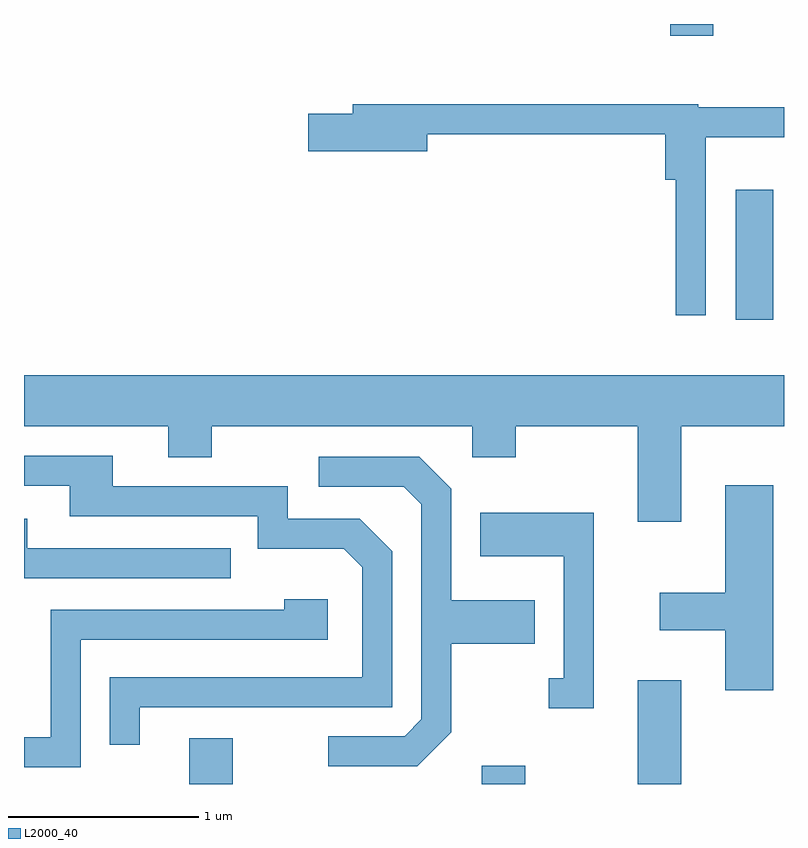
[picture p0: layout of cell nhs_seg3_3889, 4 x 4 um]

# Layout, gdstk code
import gdstk
lib = gdstk.Library(unit=1e-6, precision=1e-09)
def R(c, l, rs):  # rectangles x0, y0, x1, y1
    for r in rs: c.add(gdstk.rectangle(r[:2], r[2:], *l))
def P(c, l, *ps):  # polygons
    for p in ps: c.add(gdstk.Polygon(p, *l))
L2000_40 = (2000, 40)

nhs_seg3_3889 = lib.new_cell('nhs_seg3_3889')
R(nhs_seg3_3889, L2000_40, [(300.481,1141.892,300.709,1142.134), (302.021,1141.892,302.249,1141.989), (302.841,1141.892,303.069,1142.439), (303.356,1144.336,303.554,1145.019), (303.011,1145.831,303.239,1145.892)])
P(nhs_seg3_3889, L2000_40, [(303.199,1145.296),(303.611,1145.296),(303.611,1145.454),(303.16,1145.454),(303.16,1145.469),(301.341,1145.469),(301.341,1145.419),(301.106,1145.419),(301.106,1145.221),(301.734,1145.221),(301.734,1145.311),(302.986,1145.311),(302.986,1145.071),(303.041,1145.071),(303.041,1144.358),(303.199,1144.358)],
  [(303.069,1143.776),(303.611,1143.776),(303.611,1144.044),(299.611,1144.044),(299.611,1143.776),(300.371,1143.776),(300.371,1143.611),(300.599,1143.611),(300.599,1143.776),(301.971,1143.776),(301.971,1143.611),(302.199,1143.611),(302.199,1143.776),(302.841,1143.776),(302.841,1143.271),(303.069,1143.271)],
  [(300.219,1142.296),(301.549,1142.296),(301.549,1143.117),(301.377,1143.289),(300.999,1143.289),(300.999,1143.459),(300.079,1143.459),(300.079,1143.619),(299.611,1143.619),(299.611,1143.461),(299.851,1143.461),(299.851,1143.301),(300.841,1143.301),(300.841,1143.131),(301.294,1143.131),(301.391,1143.034),(301.391,1142.454),(300.061,1142.454),(300.061,1142.098),(300.219,1142.098)],
  [(301.859,1142.164),(301.859,1142.631),(302.299,1142.631),(302.299,1142.859),(301.859,1142.859),(301.859,1143.447),(301.692,1143.614),(301.163,1143.614),(301.163,1143.456),(301.609,1143.456),(301.701,1143.364),(301.701,1142.232),(301.614,1142.144),(301.213,1142.144),(301.213,1141.986),(301.682,1141.986)],
  [(303.554,1143.464),(303.301,1143.464),(303.301,1142.899),(302.956,1142.899),(302.956,1142.701),(303.301,1142.701),(303.301,1142.386),(303.554,1142.386)],
  [(302.609,1143.319),(302.011,1143.319),(302.011,1143.091),(302.451,1143.091),(302.451,1142.449),(302.373,1142.449),(302.373,1142.291),(302.609,1142.291)],
  [(300.698,1143.134),(299.629,1143.134),(299.629,1143.289),(299.611,1143.289),(299.611,1142.976),(300.698,1142.976)],
  [(299.909,1142.651),(301.209,1142.651),(301.209,1142.864),(300.981,1142.864),(300.981,1142.809),(299.751,1142.809),(299.751,1142.139),(299.611,1142.139),(299.611,1141.981),(299.909,1141.981)])

lib.write_gds('nhs_seg3_3889.gds')
